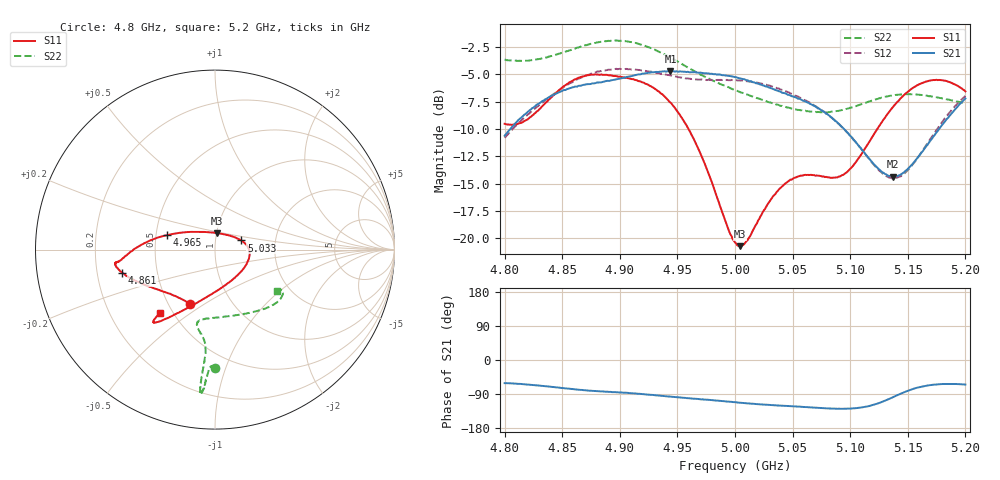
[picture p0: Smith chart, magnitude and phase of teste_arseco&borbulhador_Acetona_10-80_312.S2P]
! Network Analyzer HP8722D
! Hewlett-Packard
! Data name: Linha & Wilkinson
! Saver's name: Rodrigo Anjos
! Comments: Teste da utilização de aquisição
! continua pelo VNA HP8722D
! Time and date: 17/4/2025 16:57
!  Frequency  S11  S21  S12  S22
# HZ  S  MA R 50
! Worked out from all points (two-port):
!   401 points, 4.8 GHz to 5.2 GHz, reference 50 ohm
!   highest |S21| = -4.70 dB at 4.944 GHz (marker M1); lowest = -14.4 dB at 5.137 GHz (marker M2)
!   |S21| within 3 dB of the highest: 4.829 GHz to 5.065 GHz (236.2 MHz wide, 4.77 % of centre); 5.195146 GHz to end of sweep
!   lowest |S11| = -20.7 dB at 5.004 GHz (marker M3), VSWR 1.20, Z = 50.2 + j9.27 ohm
!   |S11| at or under -10 dB: 4.96 GHz to 5.123 GHz (163.8 MHz wide, 3.25 % of centre)
!   |S22| runs from -8.5 to -1.9 dB; largest |S21 - S12| = 0.87
!   S11 on the Smith chart (normalised r, x): 4.8 GHz: 0.64, -0.44; 4.861 GHz: 0.31, -0.11; 4.965 GHz: 0.57, +0.10; 5.033 GHz: 1.34, +0.14; 5.2 GHz: 0.42, -0.39
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4.8e9  0.3345 -114.1  0.2948 -61.0  0.2887 -175.3  0.6577 -90.2
4.819e9  0.3485 -134.1  0.3745 -64.5  0.3639 -174.1  0.6505 -91.9
4.861e9  0.5336 -166.0  0.4945 -77.3  0.5272 -177.3  0.7374 -94.1
4.867e9  0.5489 -168.4  0.5014 -79.0  0.5448 -178.4  0.7571 -94.4
4.899e9  0.5487 -172.7  0.5367 -85.5  0.5956 175.1  0.8006 -95.7
4.934e9  0.4697 -178.6  0.5777 -93.9  0.5699 171.3  0.7137 -96.0
4.944e9  0.418 176.9  0.5819 -96.7  0.5562 171.6  0.6717 -95.7
4.965e9  0.2792 163.1  0.5761 -102.3  0.5342 173.3  0.5815 -95.3
5e9  0.09599 98.6  0.5471 -111.6  0.5294 175.7  0.4767 -99.2
5.004e9  0.09221 83.7  0.54 -112.5  0.5273 175.7  0.4682 -100.1
5.012e9  0.1005 56.9  0.5247 -114.6  0.5219 175.6  0.4525 -101.9
5.033e9  0.1557 19.0  0.4823 -119.1  0.4932 174.6  0.4143 -103.5
5.049e9  0.1855 2.7  0.4474 -121.9  0.4588 174.0  0.3929 -99.5
5.067e9  0.1949 -16.6  0.4081 -125.2  0.4117 173.3  0.3798 -90.2
5.096e9  0.1993 -67.2  0.3106 -128.7  0.3112 174.5  0.3901 -67.5
5.123e9  0.3138 -108.8  0.2118 -115.7  0.2107 -170.2  0.4339 -48.6
5.134e9  0.3801 -117.6  0.1928 -102.6  0.1897 -155.4  0.4485 -43.0
5.137e9  0.3981 -119.4  0.1916 -98.3  0.1883 -150.7  0.4513 -41.7
5.149e9  0.4638 -124.6  0.2056 -82.4  0.2025 -132.3  0.4565 -37.2
5.168e9  0.5255 -129.3  0.2728 -67.1  0.2769 -113.3  0.4473 -32.5
5.184e9  0.5235 -130.8  0.3527 -63.2  0.3646 -107.4  0.4326 -31.3
5.2e9  0.4706 -131.0  0.4364 -64.8  0.4484 -106.9  0.4151 -33.6
